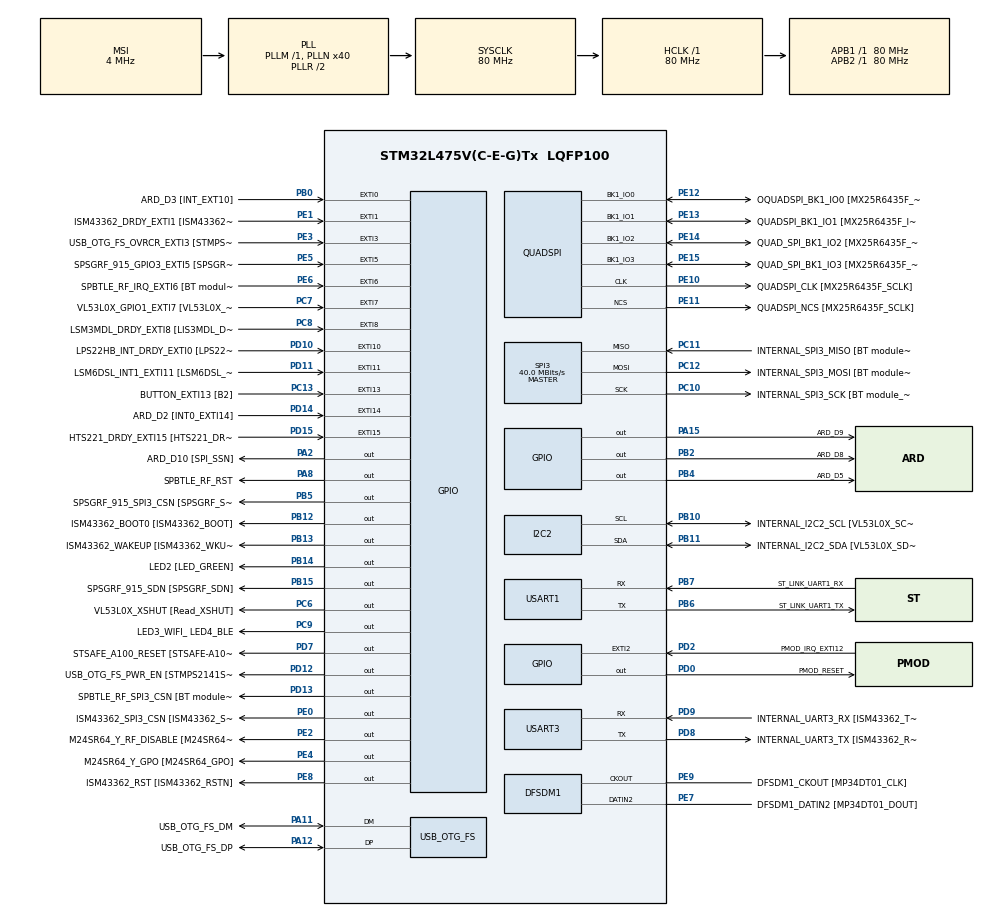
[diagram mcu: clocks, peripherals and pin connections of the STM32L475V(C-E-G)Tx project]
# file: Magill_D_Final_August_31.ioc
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PD12.GPIO_Label=USB_OTG_FS_PWR_EN [STMPS2141STR_EN]
SPI3.Direction=SPI_DIRECTION_2LINES
SPI3.VirtualType=VM_MASTER
QUADSPI.ClockPrescaler=2
PB10.Mode=I2C
PC12.Signal=SPI3_MOSI
PB14.GPIO_Label=LED2 [LED_GREEN]
PC6.GPIO_Label=VL53L0X_XSHUT [Read_XSHUT]
VP_RTC_VS_RTC_Activate.Mode=RTC_Enabled
PA6.GPIO_Label=ARD_D12 [SPI1_MISO]
PB6.GPIO_Label=ST_LINK_UART1_TX
PA15\ (JTDI).Signal=GPIO_Output
PC15-OSC32_OUT\ (PC15).Mode=LSE-External-Oscillator
PB13.Signal=GPIO_Output
PD6.GPIO_Label=PMOD_UART2_RX
PE6.GPIO_Label=SPBTLE_RF_IRQ_EXTI6 [BT module_SPI_IRQ]
RCC.SYSCLKSource=RCC_SYSCLKSOURCE_PLLCLK
PC14-OSC32_IN\ (PC14).Mode=LSE-External-Oscillator
SH.ADCx_IN16.0=ADC1_IN16
USART3.VirtualMode-Asynchronous=VM_ASYNC
PA14\ (JTCK-SWCLK).Signal=SYS_JTCK-SWCLK
PD4.Signal=USART2_RTS
RCC.APB2TimFreq_Value=80000000
PB6.Signal=USART1_TX
PC7.Signal=GPXTI7
PB6.Mode=Asynchronous
PC3.Signal=ADCx_IN4
PD0.Signal=GPIO_Output
PD8.Signal=USART3_TX
PE5.Signal=GPXTI5
PE1.Signal=GPXTI1
QUADSPI.FlashSize=23
NVIC.EXTI15_10_IRQn=true\:0\:0\:false\:false\:true\:true\:true
PB2.Signal=GPIO_Output
PD1.GPIO_Label=PMOD_SPI2_SCK
PB12.GPIO_Label=ISM43362_BOOT0 [ISM43362_BOOT]
PC4.GPIO_Label=ARD_A1 [ADC]
PE9.Signal=S_CKOUTDFSDM1
PB1.GPIO_Label=ARD_D6 [ADC1_IN6]
PE4.GPIO_Label=M24SR64_Y_GPO [M24SR64_GPO]
PE2.Signal=GPIO_Output
PA8.Signal=GPIO_Output
PE13.Mode=Single Bank
PE10.Signal=QUADSPI_CLK
PA0.Signal=UART4_TX
Mcu.Package=LQFP100
PB9.Signal=I2C1_SDA
PB1.Signal=ADCx_IN16
SPI3.Mode=SPI_MODE_MASTER
SH.ADCx_IN14.0=ADC1_IN14
PD12.Signal=GPIO_Output
PA10.Signal=USB_OTG_FS_ID
VP_RTC_VS_RTC_Calendar.Mode=RTC_Calendar
PE12.GPIO_Label=OQUADSPI_BK1_IO0 [MX25R6435F_IO0]
PC11.Mode=Full_Duplex_Master
SH.ADCx_IN9.0=ADC1_IN9
RCC.APB1TimFreq_Value=80000000
PA13\ (JTMS-SWDIO).Signal=SYS_JTMS-SWDIO
NVIC.USART1_IRQn=true\:0\:0\:false\:false\:true\:true\:true
PE10.GPIO_Label=QUADSPI_CLK [MX25R6435F_SCLK]
PA4.GPIO_Label=ARD_D7
PD15.Signal=GPXTI15
PE12.Mode=Single Bank
PD9.GPIO_Label=INTERNAL_UART3_RX [ISM43362_TX]
PA9.GPIO_Label=USB_OTG_FS_VBUS [STMPS2141STR_OUT]
PC13.Signal=GPXTI13
PD3.Signal=USART2_CTS
PC6.Signal=GPIO_Output
PE10.Mode=Single Bank
PC2.Signal=ADCx_IN3
PB11.GPIO_Label=INTERNAL_I2C2_SDA [VL53L0X_SDA]
PD7.Signal=GPIO_Output
PD1.Signal=SPI2_SCK
PA11.GPIO_Label=USB_OTG_FS_DM
PC0.Signal=ADCx_IN1
PD10.Signal=GPXTI10
PB8.GPIO_Label=ARD_D15 [I2C1_SCL]
PA8.GPIO_Label=SPBTLE_RF_RST
PB11.Mode=I2C
PE8.GPIO_Label=ISM43362_RST [ISM43362_RSTN]
PA9.Signal=USB_OTG_FS_VBUS
PE9.GPIO_Label=DFSDM1_CKOUT [MP34DT01_CLK]
PD8.Mode=Asynchronous
PB10.Signal=I2C2_SCL
PB14.Signal=GPIO_Output
PA5.Signal=SPI1_SCK
PC12.Mode=Full_Duplex_Master
PE1.GPIO_Label=ISM43362_DRDY_EXTI1 [ISM43362_DATARDY]
NVIC.TIM3_IRQn=true\:0\:0\:false\:false\:true\:true\:true
PE14.Signal=QUADSPI_BK1_IO2
PE15.Signal=QUADSPI_BK1_IO3
PB15.GPIO_Label=SPSGRF_915_SDN [SPSGRF_SDN]
PE8.Signal=GPIO_Output
PA1.GPIO_Label=ARD_D0 [UART4_RX]
SH.ADCx_IN4.0=ADC1_IN4
QUADSPI.FifoThreshold=4
PC7.GPIO_Label=VL53L0X_GPIO1_EXTI7 [VL53L0X_GPIO1]
PA13\ (JTMS-SWDIO).Mode=Serial_Wire
PA4.Signal=ADCx_IN9
PB5.Signal=GPIO_Output
PE13.GPIO_Label=QUADSPI_BK1_IO1 [MX25R6435F_IO1]
PA5.GPIO_Label=ARD_D13 [SPI1_SCK]
PD11.Signal=GPXTI11
PE5.GPIO_Label=SPSGRF_915_GPIO3_EXTI5 [SPSGRF_GPIO_3]
PC12.GPIO_Label=INTERNAL_SPI3_MOSI [BT module_SPI_MOSI] [ISM43362_MOSI]
PA11.Signal=USB_OTG_FS_DM
ProjectManager.HeapSize=0x200
NVIC.PriorityGroup=NVIC_PRIORITYGROUP_4
PE3.Signal=GPXTI3
PC3.GPIO_Label=ARD_A2 [ADC]
PB4\ (NJTRST).GPIO_Label=ARD_D5
PD2.Signal=GPXTI2
PB0.Signal=GPXTI0
PC1.Signal=ADCx_IN2
PD2.GPIO_Label=PMOD_IRQ_EXTI12
PE15.Mode=Single Bank
Mcu.Family=STM32L4
RCC.CortexFreq_Value=80000000
PE11.GPIO_Label=QUADSPI_NCS [MX25R6435F_SCLK]
SH.ADCx_IN2.0=ADC1_IN2
PC10.Signal=SPI3_SCK
VP_IWDG_VS_IWDG.Mode=IWDG_Activate
PA0.GPIO_Label=ARD_D1 [UART4_TX]
PC0.GPIO_Label=ARD_A5 [ADC]
PD0.GPIO_Label=PMOD_RESET
PA11.Mode=Device_Only
PB0.GPIO_Label=ARD_D3 [INT_EXT10]
PC13.GPIO_Label=BUTTON_EXTI13 [B2]
PB13.GPIO_Label=ISM43362_WAKEUP [ISM43362_WKUP]
PB11.Signal=I2C2_SDA
PB15.Signal=GPIO_Output
PD9.Mode=Asynchronous
VP_RTC_VS_RTC_Alarm_A_Intern.Mode=Alarm A
ProjectManager.StackSize=0x400
PB3\ (JTDO-TRACESWO).Signal=SYS_JTDO-SWO
PD13.Signal=GPIO_Output
PA12.Signal=USB_OTG_FS_DP
PE11.Mode=Single Bank
PD11.GPIO_Label=LSM6DSL_INT1_EXTI11 [LSM6DSL_INT1]
RCC.HCLKFreq_Value=80000000
SH.ADCx_IN3.0=ADC1_IN3
PB5.PinState=GPIO_PIN_SET
RCC.AHBFreq_Value=80000000
RCC.HSE_VALUE=8000000
PE13.Signal=QUADSPI_BK1_IO1
TIM3.Prescaler=47
PC11.GPIO_Label=INTERNAL_SPI3_MISO [BT module_SPI_MISO] [ISM43362_MISO]
PA10.GPIO_Label=USB_OTG_FS_ID
PB7.Signal=USART1_RX
PE4.Signal=GPIO_Output
QUADSPI.SampleShifting=QSPI_SAMPLE_SHIFTING_HALFCYCLE
PD7.GPIO_Label=STSAFE_A100_RESET [STSAFE-A100_RESET]
PB7.GPIO_Label=ST_LINK_UART1_RX
PD13.GPIO_Label=SPBTLE_RF_SPI3_CSN [BT module_SPI_CS]
PA6.Signal=SPI1_MISO
PD5.GPIO_Label=PMOD_UART2_TX
PA2.GPIO_Label=ARD_D10 [SPI_SSN]
USB_OTG_FS.VirtualMode=Device_Only
PE0.GPIO_Label=ISM43362_SPI3_CSN [ISM43362_SSN]
SH.ADCx_IN1.0=ADC1_IN1
PB5.GPIO_Label=SPSGRF_915_SPI3_CSN [SPSGRF_SPI_CS]
PC5.Signal=ADCx_IN14
PD3.GPIO_Label=PMOD_UART2_CTS
PE7.Signal=S_DATAIN2DFSDM1
PD6.Signal=USART2_RX
PE2.GPIO_Label=M24SR64_Y_RF_DISABLE [M24SR64_RFDIS]
PC2.GPIO_Label=ARD_A3 [ADC]
VP_TIM3_VS_ClockSourceINT.Mode=Internal
RCC.PLLSAI1N=24
PA3.Signal=S_TIM2_CH4
RCC.MSI_VALUE=4000000
PA14\ (JTCK-SWCLK).Mode=Serial_Wire
SH.ADCx_IN13.0=ADC1_IN13
PD15.GPIO_Label=HTS221_DRDY_EXTI15 [HTS221_DRDY]
PB9.GPIO_Label=ARD_D14 [I2C1_SDA]
PC10.GPIO_Label=INTERNAL_SPI3_SCK [BT module_SPI_SCLK] [ISM43362_SCK]
PC9.GPIO_Label=LED3_WIFI_ LED4_BLE
PC11.Signal=SPI3_MISO
PC8.Signal=GPXTI8
PC4.Signal=ADCx_IN13
PC10.Mode=Full_Duplex_Master
SH.S_DATAIN2DFSDM1.0=DFSDM1_DATIN2,PDM_SPI_Input_from_ch12_and_Internal_Clock
PE14.GPIO_Label=QUAD_SPI_BK1_IO2 [MX25R6435F_IO2]
PC15-OSC32_OUT\ (PC15).Signal=RCC_OSC32_OUT
PD9.Signal=USART3_RX
PD5.Signal=USART2_TX
PA14\ (JTCK-SWCLK).GPIO_Label=SYS_JTCK_SWCLK
PB3\ (JTDO-TRACESWO).GPIO_Label=SYS_JTD0_SWO
PA12.GPIO_Label=USB_OTG_FS_DP
PD8.GPIO_Label=INTERNAL_UART3_TX [ISM43362_RX]
PC8.GPIO_Label=LSM3MDL_DRDY_EXTI8 [LIS3MDL_DRDY]
USART1.VirtualMode-Asynchronous=VM_ASYNC
PE0.PinState=GPIO_PIN_SET
PE15.GPIO_Label=QUAD_SPI_BK1_IO3 [MX25R6435F_IO3]
ProjectManager.TargetToolchain=STM32CubeIDE
PB10.GPIO_Label=INTERNAL_I2C2_SCL [VL53L0X_SCL]
RCC.USBFreq_Value=48000000
PD10.GPIO_Label=LPS22HB_INT_DRDY_EXTI0 [LPS22HB_INT_DRDY] 
PE11.Signal=QUADSPI_NCS
PA1.Signal=UART4_RX
board=B-L475E-IOT01A1
RCC.VCOOutputFreq_Value=160000000
RCC.APB2Freq_Value=80000000
SPI3.CalculateBaudRate=40.0 MBits/s
PA13\ (JTMS-SWDIO).GPIO_Label=SYS_JTMS_SWDIO
VP_TIM2_VS_ClockSourceINT.Mode=Internal
PD4.GPIO_Label=PMOD_UART2_RTS
PE14.Mode=Single Bank
SH.S_CKOUTDFSDM1.0=DFSDM1_CKOUT,CKOUT
SH.S_CKOUTDFSDM1.1=DFSDM1_CKOUT,PDM_SPI_Input_from_ch12_and_Internal_Clock
RCC.ADCFreq_Value=48000000
PC1.GPIO_Label=ARD_A4 [ADC]
PD14.GPIO_Label=ARD_D2 [INT0_EXTI14]
PE6.Signal=GPXTI6
PA15\ (JTDI).GPIO_Label=ARD_D9
Mcu.Name=STM32L475V(C-E-G)Tx
PE0.Signal=GPIO_Output
RTC.Alarm-Alarm\ A=RTC_ALARM_A
PE7.GPIO_Label=DFSDM1_DATIN2 [MP34DT01_DOUT]
PE12.Signal=QUADSPI_BK1_IO0
PA2.Signal=GPIO_Output
PD14.Signal=GPXTI14
RCC.SYSCLKFreq_VALUE=80000000
PA7.GPIO_Label=ARD_D11 [SPI1_MOSI]
PA12.Mode=Device_Only
PC13.GPIO_ModeDefaultEXTI=GPIO_MODE_IT_FALLING
PC5.GPIO_Label=ARD_A0 [ADC]
PC14-OSC32_IN\ (PC14).Signal=RCC_OSC32_IN
PB7.Mode=Asynchronous
NVIC.EXTI9_5_IRQn=true\:0\:0\:false\:false\:true\:true\:true
PB2.GPIO_Label=ARD_D8
SH.S_TIM2_CH4.0=TIM2_CH4
RCC.HSI_VALUE=16000000
RCC.PLLN=40
PB8.Signal=I2C1_SCL
PE3.GPIO_Label=USB_OTG_FS_OVRCR_EXTI3 [STMPS2141STR_FAULT]
PC9.Signal=GPIO_Output
PD13.PinState=GPIO_PIN_SET
RCC.APB1Freq_Value=80000000
PB12.Signal=GPIO_Output
PA3.GPIO_Label=ARD_D4
PA7.Signal=SPI1_MOSI
PB4\ (NJTRST).Signal=GPIO_Output

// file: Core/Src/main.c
/* USER CODE BEGIN Header */
/**
 ******************************************************************************
 * @file           : main.c
 * @brief          : Main program body
 ******************************************************************************
 * @attention
 *t
 * <h2><center>&copy; Copyright (c) 2021 STMicroelectronics.
 * All rights reserved.</center></h2>
 *
 * This software component is licensed by ST under BSD 3-Clause license,
 * the "License"; You may not use this file except in compliance with the
 * License. You may obtain a copy of the License at:
 *                        opensource.org/licenses/BSD-3-Clause
 *
 ******************************************************************************
 */
/* USER CODE END Header */
#include "main.h"

/* USER CODE BEGIN Includes */
#include "string.h"
#include <stdio.h>
/* USER CODE END Includes */

DFSDM_Channel_HandleTypeDef hdfsdm1_channel1;

I2C_HandleTypeDef hi2c2;

IWDG_HandleTypeDef hiwdg;

QSPI_HandleTypeDef hqspi;

RTC_HandleTypeDef hrtc;

SPI_HandleTypeDef hspi3;

TIM_HandleTypeDef htim2;
TIM_HandleTypeDef htim3;

UART_HandleTypeDef huart1;
UART_HandleTypeDef huart3;

PCD_HandleTypeDef hpcd_USB_OTG_FS;

void SystemClock_Config(void);
static void MX_GPIO_Init(void);
static void MX_DFSDM1_Init(void);
static void MX_I2C2_Init(void);
static void MX_QUADSPI_Init(void);
static void MX_SPI3_Init(void);
static void MX_USART1_UART_Init(void);
static void MX_USART3_UART_Init(void);
static void MX_USB_OTG_FS_PCD_Init(void);
static void MX_IWDG_Init(void);
static void MX_RTC_Init(void);
static void MX_TIM2_Init(void);
static void MX_TIM3_Init(void);
/* USER CODE BEGIN PFP */

static void printMenu();
static char logGetMsg(UART_HandleTypeDef *huart);
static void noOp();
static void waitTx();
static void myDelay1(uint32_t ms);
static void myDelay2(uint32_t ms);
static void startTimer3();
static void triggerSoftwareInterrupt();
static void triggerIWDG();

/* USER CODE END PFP */

/* USER CODE BEGIN 0 */

uint8_t rx_buffer[1] = {0};
uint8_t tx_complete = 0;
uint8_t rx_wait_sum = 0;
uint8_t rx_wait_ones = 0;
uint32_t timerCounter = 1;

/* USER CODE END 0 */

int main(void)
{

  /* MCU Configuration--------------------------------------------------------*/

  /* Reset of all peripherals, Initializes the Flash interface and the Systick. */
  HAL_Init();

  /* Configure the system clock */
  SystemClock_Config();

  /* Initialize all configured peripherals */
  MX_GPIO_Init();
  MX_DFSDM1_Init();
  MX_I2C2_Init();
  MX_QUADSPI_Init();
  MX_SPI3_Init();
  MX_USART1_UART_Init();
  MX_USART3_UART_Init();
  MX_USB_OTG_FS_PCD_Init();
  MX_IWDG_Init();
  MX_RTC_Init();
  MX_TIM2_Init();
  MX_TIM3_Init();
  /* USER CODE BEGIN 2 */
  printMenu();
  /* USER CODE END 2 */

  /* Infinite loop */
  /* USER CODE BEGIN WHILE */
	while (1)
	{
		HAL_IWDG_Refresh(&hiwdg);
		if (logGetMsg(&huart1) != '\0') {

			switch (rx_buffer[0]) {

				case 'g':

					logMsg(&huart1, "Received g \r\n");
					HAL_GPIO_TogglePin(GPIOB, GPIO_PIN_14);
					myDelay1(50);
					rx_buffer[0] = '\0';
					break;

				case 'b':

					logMsg(&huart1, "Received b \r\n");
					HAL_GPIO_TogglePin(GPIOC, GPIO_PIN_9);
					myDelay2(50);
					rx_buffer[0] = '\0';
					break;

				case 's':
					logMsg(&huart1, "Received s \r\n");
					triggerSoftwareInterrupt();
					rx_buffer[0] = '\0';
					break;

				case 't':

					logMsg(&huart1, "Received t \r\n");
					startTimer3();
					rx_buffer[0] = '\0';
					break;

				case 'w':

					logMsg(&huart1, "Received w \r\n");
					triggerIWDG();
					rx_buffer[0] = '\0';
					break;

				default:
					// enableIntr(40);
					logMsg(&huart1, "Received unknown character... \r\n");
					rx_buffer[0] = '\0';
					break;

			}
		}
    /* USER CODE END WHILE */

	}
}

void SystemClock_Config(void)
{
  RCC_OscInitTypeDef RCC_OscInitStruct = {0};
  RCC_ClkInitTypeDef RCC_ClkInitStruct = {0};
  RCC_PeriphCLKInitTypeDef PeriphClkInit = {0};

  /** Configure LSE Drive Capability
  */
  HAL_PWR_EnableBkUpAccess();
  __HAL_RCC_LSEDRIVE_CONFIG(RCC_LSEDRIVE_LOW);
  /** Initializes the RCC Oscillators according to the specified parameters
  * in the RCC_OscInitTypeDef structure.
  */
  RCC_OscInitStruct.OscillatorType = RCC_OSCILLATORTYPE_LSI|RCC_OSCILLATORTYPE_LSE
                              |RCC_OSCILLATORTYPE_MSI;
  RCC_OscInitStruct.LSEState = RCC_LSE_ON;
  RCC_OscInitStruct.LSIState = RCC_LSI_ON;
  RCC_OscInitStruct.MSIState = RCC_MSI_ON;
  RCC_OscInitStruct.MSICalibrationValue = 0;
  RCC_OscInitStruct.MSIClockRange = RCC_MSIRANGE_6;
  RCC_OscInitStruct.PLL.PLLState = RCC_PLL_ON;
  RCC_OscInitStruct.PLL.PLLSource = RCC_PLLSOURCE_MSI;
  RCC_OscInitStruct.PLL.PLLM = 1;
  RCC_OscInitStruct.PLL.PLLN = 40;
  RCC_OscInitStruct.PLL.PLLP = RCC_PLLP_DIV7;
  RCC_OscInitStruct.PLL.PLLQ = RCC_PLLQ_DIV2;
  RCC_OscInitStruct.PLL.PLLR = RCC_PLLR_DIV2;
  if (HAL_RCC_OscConfig(&RCC_OscInitStruct) != HAL_OK)
  {
    Error_Handler();
  }
  /** Initializes the CPU, AHB and APB buses clocks
  */
  RCC_ClkInitStruct.ClockType = RCC_CLOCKTYPE_HCLK|RCC_CLOCKTYPE_SYSCLK
                              |RCC_CLOCKTYPE_PCLK1|RCC_CLOCKTYPE_PCLK2;
  RCC_ClkInitStruct.SYSCLKSource = RCC_SYSCLKSOURCE_PLLCLK;
  RCC_ClkInitStruct.AHBCLKDivider = RCC_SYSCLK_DIV1;
  RCC_ClkInitStruct.APB1CLKDivider = RCC_HCLK_DIV1;
  RCC_ClkInitStruct.APB2CLKDivider = RCC_HCLK_DIV1;

  if (HAL_RCC_ClockConfig(&RCC_ClkInitStruct, FLASH_LATENCY_4) != HAL_OK)
  {
    Error_Handler();
  }
  PeriphClkInit.PeriphClockSelection = RCC_PERIPHCLK_RTC|RCC_PERIPHCLK_USART1
                              |RCC_PERIPHCLK_USART3|RCC_PERIPHCLK_I2C2
                              |RCC_PERIPHCLK_DFSDM1|RCC_PERIPHCLK_USB;
  PeriphClkInit.Usart1ClockSelection = RCC_USART1CLKSOURCE_PCLK2;
  PeriphClkInit.Usart3ClockSelection = RCC_USART3CLKSOURCE_PCLK1;
  PeriphClkInit.I2c2ClockSelection = RCC_I2C2CLKSOURCE_PCLK1;
  PeriphClkInit.Dfsdm1ClockSelection = RCC_DFSDM1CLKSOURCE_PCLK;
  PeriphClkInit.RTCClockSelection = RCC_RTCCLKSOURCE_LSI;
  PeriphClkInit.UsbClockSelection = RCC_USBCLKSOURCE_PLLSAI1;
  PeriphClkInit.PLLSAI1.PLLSAI1Source = RCC_PLLSOURCE_MSI;
  PeriphClkInit.PLLSAI1.PLLSAI1M = 1;
  PeriphClkInit.PLLSAI1.PLLSAI1N = 24;
  PeriphClkInit.PLLSAI1.PLLSAI1P = RCC_PLLP_DIV7;
  PeriphClkInit.PLLSAI1.PLLSAI1Q = RCC_PLLQ_DIV2;
  PeriphClkInit.PLLSAI1.PLLSAI1R = RCC_PLLR_DIV2;
  PeriphClkInit.PLLSAI1.PLLSAI1ClockOut = RCC_PLLSAI1_48M2CLK;
  if (HAL_RCCEx_PeriphCLKConfig(&PeriphClkInit) != HAL_OK)
  {
    Error_Handler();
  }
  /** Configure the main internal regulator output voltage
  */
  if (HAL_PWREx_ControlVoltageScaling(PWR_REGULATOR_VOLTAGE_SCALE1) != HAL_OK)
  {
    Error_Handler();
  }
  /** Enable MSI Auto calibration
  */
  HAL_RCCEx_EnableMSIPLLMode();
}

static void MX_DFSDM1_Init(void)
{

  hdfsdm1_channel1.Instance = DFSDM1_Channel1;
  hdfsdm1_channel1.Init.OutputClock.Activation = ENABLE;
  hdfsdm1_channel1.Init.OutputClock.Selection = DFSDM_CHANNEL_OUTPUT_CLOCK_SYSTEM;
  hdfsdm1_channel1.Init.OutputClock.Divider = 2;
  hdfsdm1_channel1.Init.Input.Multiplexer = DFSDM_CHANNEL_EXTERNAL_INPUTS;
  hdfsdm1_channel1.Init.Input.DataPacking = DFSDM_CHANNEL_STANDARD_MODE;
  hdfsdm1_channel1.Init.Input.Pins = DFSDM_CHANNEL_FOLLOWING_CHANNEL_PINS;
  hdfsdm1_channel1.Init.SerialInterface.Type = DFSDM_CHANNEL_SPI_RISING;
  hdfsdm1_channel1.Init.SerialInterface.SpiClock = DFSDM_CHANNEL_SPI_CLOCK_INTERNAL;
  hdfsdm1_channel1.Init.Awd.FilterOrder = DFSDM_CHANNEL_FASTSINC_ORDER;
  hdfsdm1_channel1.Init.Awd.Oversampling = 1;
  hdfsdm1_channel1.Init.Offset = 0;
  hdfsdm1_channel1.Init.RightBitShift = 0x00;
  if (HAL_DFSDM_ChannelInit(&hdfsdm1_channel1) != HAL_OK)
  {
    Error_Handler();
  }

}

static void MX_I2C2_Init(void)
{

  hi2c2.Instance = I2C2;
  hi2c2.Init.Timing = 0x00000E14;
  hi2c2.Init.OwnAddress1 = 0;
  hi2c2.Init.AddressingMode = I2C_ADDRESSINGMODE_7BIT;
  hi2c2.Init.DualAddressMode = I2C_DUALADDRESS_DISABLE;
  hi2c2.Init.OwnAddress2 = 0;
  hi2c2.Init.OwnAddress2Masks = I2C_OA2_NOMASK;
  hi2c2.Init.GeneralCallMode = I2C_GENERALCALL_DISABLE;
  hi2c2.Init.NoStretchMode = I2C_NOSTRETCH_DISABLE;
  if (HAL_I2C_Init(&hi2c2) != HAL_OK)
  {
    Error_Handler();
  }
  /** Configure Analogue filter
  */
  if (HAL_I2CEx_ConfigAnalogFilter(&hi2c2, I2C_ANALOGFILTER_ENABLE) != HAL_OK)
  {
    Error_Handler();
  }
  /** Configure Digital filter
  */
  if (HAL_I2CEx_ConfigDigitalFilter(&hi2c2, 0) != HAL_OK)
  {
    Error_Handler();
  }

}

static void MX_IWDG_Init(void)
{

  hiwdg.Instance = IWDG;
  hiwdg.Init.Prescaler = IWDG_PRESCALER_4;
  hiwdg.Init.Window = 4095;
  hiwdg.Init.Reload = 4095;
  if (HAL_IWDG_Init(&hiwdg) != HAL_OK)
  {
    Error_Handler();
  }

}

static void MX_QUADSPI_Init(void)
{

  /* QUADSPI parameter configuration*/
  hqspi.Instance = QUADSPI;
  hqspi.Init.ClockPrescaler = 2;
  hqspi.Init.FifoThreshold = 4;
  hqspi.Init.SampleShifting = QSPI_SAMPLE_SHIFTING_HALFCYCLE;
  hqspi.Init.FlashSize = 23;
  hqspi.Init.ChipSelectHighTime = QSPI_CS_HIGH_TIME_1_CYCLE;
  hqspi.Init.ClockMode = QSPI_CLOCK_MODE_0;
  if (HAL_QSPI_Init(&hqspi) != HAL_OK)
  {
    Error_Handler();
  }

}

static void MX_RTC_Init(void)
{

  RTC_TimeTypeDef sTime = {0};
  RTC_DateTypeDef sDate = {0};
  RTC_AlarmTypeDef sAlarm = {0};

  /** Initialize RTC Only
  */
  hrtc.Instance = RTC;
  hrtc.Init.HourFormat = RTC_HOURFORMAT_24;
  hrtc.Init.AsynchPrediv = 127;
  hrtc.Init.SynchPrediv = 255;
  hrtc.Init.OutPut = RTC_OUTPUT_DISABLE;
  hrtc.Init.OutPutRemap = RTC_OUTPUT_REMAP_NONE;
  hrtc.Init.OutPutPolarity = RTC_OUTPUT_POLARITY_HIGH;
  hrtc.Init.OutPutType = RTC_OUTPUT_TYPE_OPENDRAIN;
  if (HAL_RTC_Init(&hrtc) != HAL_OK)
  {
    Error_Handler();
  }

  /** Initialize RTC and set the Time and Date
  */
  sTime.Hours = 0x0;
  sTime.Minutes = 0x0;
  sTime.Seconds = 0x0;
  sTime.DayLightSaving = RTC_DAYLIGHTSAVING_NONE;
  sTime.StoreOperation = RTC_STOREOPERATION_RESET;
  if (HAL_RTC_SetTime(&hrtc, &sTime, RTC_FORMAT_BCD) != HAL_OK)
  {
    Error_Handler();
  }
  sDate.WeekDay = RTC_WEEKDAY_MONDAY;
  sDate.Month = RTC_MONTH_JANUARY;
  sDate.Date = 0x1;
  sDate.Year = 0x0;

  if (HAL_RTC_SetDate(&hrtc, &sDate, RTC_FORMAT_BCD) != HAL_OK)
  {
    Error_Handler();
  }
  /** Enable the Alarm A
  */
  sAlarm.AlarmTime.Hours = 0x0;
  sAlarm.AlarmTime.Minutes = 0x0;
  sAlarm.AlarmTime.Seconds = 0x0;
  sAlarm.AlarmTime.SubSeconds = 0x0;
  sAlarm.AlarmTime.DayLightSaving = RTC_DAYLIGHTSAVING_NONE;
  sAlarm.AlarmTime.StoreOperation = RTC_STOREOPERATION_RESET;
  sAlarm.AlarmMask = RTC_ALARMMASK_NONE;
  sAlarm.AlarmSubSecondMask = RTC_ALARMSUBSECONDMASK_ALL;
  sAlarm.AlarmDateWeekDaySel = RTC_ALARMDATEWEEKDAYSEL_DATE;
  sAlarm.AlarmDateWeekDay = 0x1;
  sAlarm.Alarm = RTC_ALARM_A;
  if (HAL_RTC_SetAlarm(&hrtc, &sAlarm, RTC_FORMAT_BCD) != HAL_OK)
  {
    Error_Handler();
  }

}

static void MX_SPI3_Init(void)
{

  /* SPI3 parameter configuration*/
  hspi3.Instance = SPI3;
  hspi3.Init.Mode = SPI_MODE_MASTER;
  hspi3.Init.Direction = SPI_DIRECTION_2LINES;
  hspi3.Init.DataSize = SPI_DATASIZE_4BIT;
  hspi3.Init.CLKPolarity = SPI_POLARITY_LOW;
  hspi3.Init.CLKPhase = SPI_PHASE_1EDGE;
  hspi3.Init.NSS = SPI_NSS_SOFT;
  hspi3.Init.BaudRatePrescaler = SPI_BAUDRATEPRESCALER_2;
  hspi3.Init.FirstBit = SPI_FIRSTBIT_MSB;
  hspi3.Init.TIMode = SPI_TIMODE_DISABLE;
  hspi3.Init.CRCCalculation = SPI_CRCCALCULATION_DISABLE;
  hspi3.Init.CRCPolynomial = 7;
  hspi3.Init.CRCLength = SPI_CRC_LENGTH_DATASIZE;
  hspi3.Init.NSSPMode = SPI_NSS_PULSE_ENABLE;
  if (HAL_SPI_Init(&hspi3) != HAL_OK)
  {
    Error_Handler();
  }

}

static void MX_TIM2_Init(void)
{

  TIM_ClockConfigTypeDef sClockSourceConfig = {0};
  TIM_MasterConfigTypeDef sMasterConfig = {0};

  htim2.Instance = TIM2;
  htim2.Init.Prescaler = 0;
  htim2.Init.CounterMode = TIM_COUNTERMODE_UP;
  htim2.Init.Period = 4294967295;
  htim2.Init.ClockDivision = TIM_CLOCKDIVISION_DIV1;
  htim2.Init.AutoReloadPreload = TIM_AUTORELOAD_PRELOAD_DISABLE;
  if (HAL_TIM_Base_Init(&htim2) != HAL_OK)
  {
    Error_Handler();
  }
  sClockSourceConfig.ClockSource = TIM_CLOCKSOURCE_INTERNAL;
  if (HAL_TIM_ConfigClockSource(&htim2, &sClockSourceConfig) != HAL_OK)
  {
    Error_Handler();
  }
  sMasterConfig.MasterOutputTrigger = TIM_TRGO_RESET;
  sMasterConfig.MasterSlaveMode = TIM_MASTERSLAVEMODE_DISABLE;
  if (HAL_TIMEx_MasterConfigSynchronization(&htim2, &sMasterConfig) != HAL_OK)
  {
    Error_Handler();
  }

}

static void MX_TIM3_Init(void)
{

  TIM_ClockConfigTypeDef sClockSourceConfig = {0};
  TIM_MasterConfigTypeDef sMasterConfig = {0};

  htim3.Instance = TIM3;
  htim3.Init.Prescaler = 47;
  htim3.Init.CounterMode = TIM_COUNTERMODE_UP;
  htim3.Init.Period = 65535;
  htim3.Init.ClockDivision = TIM_CLOCKDIVISION_DIV1;
  htim3.Init.AutoReloadPreload = TIM_AUTORELOAD_PRELOAD_DISABLE;
  if (HAL_TIM_Base_Init(&htim3) != HAL_OK)
  {
    Error_Handler();
  }
  sClockSourceConfig.ClockSource = TIM_CLOCKSOURCE_INTERNAL;
  if (HAL_TIM_ConfigClockSource(&htim3, &sClockSourceConfig) != HAL_OK)
  {
    Error_Handler();
  }
  sMasterConfig.MasterOutputTrigger = TIM_TRGO_RESET;
  sMasterConfig.MasterSlaveMode = TIM_MASTERSLAVEMODE_DISABLE;
  if (HAL_TIMEx_MasterConfigSynchronization(&htim3, &sMasterConfig) != HAL_OK)
  {
    Error_Handler();
  }

}

static void MX_USART1_UART_Init(void)
{

  huart1.Instance = USART1;
  huart1.Init.BaudRate = 115200;
  huart1.Init.WordLength = UART_WORDLENGTH_8B;
  huart1.Init.StopBits = UART_STOPBITS_1;
  huart1.Init.Parity = UART_PARITY_NONE;
  huart1.Init.Mode = UART_MODE_TX_RX;
  huart1.Init.HwFlowCtl = UART_HWCONTROL_NONE;
  huart1.Init.OverSampling = UART_OVERSAMPLING_16;
  huart1.Init.OneBitSampling = UART_ONE_BIT_SAMPLE_DISABLE;
  huart1.AdvancedInit.AdvFeatureInit = UART_ADVFEATURE_NO_INIT;
  if (HAL_UART_Init(&huart1) != HAL_OK)
  {
    Error_Handler();
  }

}

static void MX_USART3_UART_Init(void)
{

  huart3.Instance = USART3;
  huart3.Init.BaudRate = 115200;
  huart3.Init.WordLength = UART_WORDLENGTH_8B;
  huart3.Init.StopBits = UART_STOPBITS_1;
  huart3.Init.Parity = UART_PARITY_NONE;
  huart3.Init.Mode = UART_MODE_TX_RX;
  huart3.Init.HwFlowCtl = UART_HWCONTROL_NONE;
  huart3.Init.OverSampling = UART_OVERSAMPLING_16;
  huart3.Init.OneBitSampling = UART_ONE_BIT_SAMPLE_DISABLE;
  huart3.AdvancedInit.AdvFeatureInit = UART_ADVFEATURE_NO_INIT;
  if (HAL_UART_Init(&huart3) != HAL_OK)
  {
    Error_Handler();
  }

}

static void MX_USB_OTG_FS_PCD_Init(void)
{

  hpcd_USB_OTG_FS.Instance = USB_OTG_FS;
  hpcd_USB_OTG_FS.Init.dev_endpoints = 6;
  hpcd_USB_OTG_FS.Init.speed = PCD_SPEED_FULL;
  hpcd_USB_OTG_FS.Init.phy_itface = PCD_PHY_EMBEDDED;
  hpcd_USB_OTG_FS.Init.Sof_enable = DISABLE;
  hpcd_USB_OTG_FS.Init.low_power_enable = DISABLE;
  hpcd_USB_OTG_FS.Init.lpm_enable = DISABLE;
  hpcd_USB_OTG_FS.Init.battery_charging_enable = DISABLE;
  hpcd_USB_OTG_FS.Init.use_dedicated_ep1 = DISABLE;
  hpcd_USB_OTG_FS.Init.vbus_sensing_enable = DISABLE;
  if (HAL_PCD_Init(&hpcd_USB_OTG_FS) != HAL_OK)
  {
    Error_Handler();
  }

}

static void MX_GPIO_Init(void)
{
  GPIO_InitTypeDef GPIO_InitStruct = {0};

  /* GPIO Ports Clock Enable */
  __HAL_RCC_GPIOE_CLK_ENABLE();
  __HAL_RCC_GPIOC_CLK_ENABLE();
  __HAL_RCC_GPIOA_CLK_ENABLE();
  __HAL_RCC_GPIOB_CLK_ENABLE();
  __HAL_RCC_GPIOD_CLK_ENABLE();

  /*Configure GPIO pin Output Level */
  HAL_GPIO_WritePin(GPIOE, M24SR64_Y_RF_DISABLE_Pin|M24SR64_Y_GPO_Pin|ISM43362_RST_Pin, GPIO_PIN_RESET);

  /*Configure GPIO pin Output Level */
  HAL_GPIO_WritePin(GPIOA, ARD_D10_Pin|SPBTLE_RF_RST_Pin|ARD_D9_Pin, GPIO_PIN_RESET);

  /*Configure GPIO pin Output Level */
  HAL_GPIO_WritePin(GPIOB, ARD_D8_Pin|ISM43362_BOOT0_Pin|ISM43362_WAKEUP_Pin|LED2_Pin
                          |SPSGRF_915_SDN_Pin|ARD_D5_Pin, GPIO_PIN_RESET);

  /*Configure GPIO pin Output Level */
  HAL_GPIO_WritePin(GPIOD, USB_OTG_FS_PWR_EN_Pin|PMOD_RESET_Pin|STSAFE_A100_RESET_Pin, GPIO_PIN_RESET);

  /*Configure GPIO pin Output Level */
  HAL_GPIO_WritePin(SPBTLE_RF_SPI3_CSN_GPIO_Port, SPBTLE_RF_SPI3_CSN_Pin, GPIO_PIN_SET);

  /*Configure GPIO pin Output Level */
  HAL_GPIO_WritePin(GPIOC, VL53L0X_XSHUT_Pin|LED3_WIFI__LED4_BLE_Pin, GPIO_PIN_RESET);

  /*Configure GPIO pin Output Level */
  HAL_GPIO_WritePin(SPSGRF_915_SPI3_CSN_GPIO_Port, SPSGRF_915_SPI3_CSN_Pin, GPIO_PIN_SET);

  /*Configure GPIO pin Output Level */
  HAL_GPIO_WritePin(ISM43362_SPI3_CSN_GPIO_Port, ISM43362_SPI3_CSN_Pin, GPIO_PIN_SET);

  /*Configure GPIO pins : M24SR64_Y_RF_DISABLE_Pin M24SR64_Y_GPO_Pin ISM43362_RST_Pin ISM43362_SPI3_CSN_Pin */
  GPIO_InitStruct.Pin = M24SR64_Y_RF_DISABLE_Pin|M24SR64_Y_GPO_Pin|ISM43362_RST_Pin|ISM43362_SPI3_CSN_Pin;
  GPIO_InitStruct.Mode = GPIO_MODE_OUTPUT_PP;
  GPIO_InitStruct.Pull = GPIO_NOPULL;
  GPIO_InitStruct.Speed = GPIO_SPEED_FREQ_LOW;
  HAL_GPIO_Init(GPIOE, &GPIO_InitStruct);

  /*Configure GPIO pins : USB_OTG_FS_OVRCR_EXTI3_Pin SPSGRF_915_GPIO3_EXTI5_Pin SPBTLE_RF_IRQ_EXTI6_Pin ISM43362_DRDY_EXTI1_Pin */
  GPIO_InitStruct.Pin = USB_OTG_FS_OVRCR_EXTI3_Pin|SPSGRF_915_GPIO3_EXTI5_Pin|SPBTLE_RF_IRQ_EXTI6_Pin|ISM43362_DRDY_EXTI1_Pin;
  GPIO_InitStruct.Mode = GPIO_MODE_IT_RISING;
  GPIO_InitStruct.Pull = GPIO_NOPULL;
  HAL_GPIO_Init(GPIOE, &GPIO_InitStruct);

  /*Configure GPIO pin : BUTTON_EXTI13_Pin */
  GPIO_InitStruct.Pin = BUTTON_EXTI13_Pin;
  GPIO_InitStruct.Mode = GPIO_MODE_IT_FALLING;
  GPIO_InitStruct.Pull = GPIO_NOPULL;
  HAL_GPIO_Init(BUTTON_EXTI13_GPIO_Port, &GPIO_InitStruct);

  /*Configure GPIO pins : ARD_A5_Pin ARD_A4_Pin ARD_A3_Pin ARD_A2_Pin
                           ARD_A1_Pin ARD_A0_Pin */
  GPIO_InitStruct.Pin = ARD_A5_Pin|ARD_A4_Pin|ARD_A3_Pin|ARD_A2_Pin
                          |ARD_A1_Pin|ARD_A0_Pin;
  GPIO_InitStruct.Mode = GPIO_MODE_ANALOG_ADC_CONTROL;
  GPIO_InitStruct.Pull = GPIO_NOPULL;
  HAL_GPIO_Init(GPIOC, &GPIO_InitStruct);

  /*Configure GPIO pins : ARD_D1_Pin ARD_D0_Pin */
  GPIO_InitStruct.Pin = ARD_D1_Pin|ARD_D0_Pin;
  GPIO_InitStruct.Mode = GPIO_MODE_AF_PP;
  GPIO_InitStruct.Pull = GPIO_NOPULL;
  GPIO_InitStruct.Speed = GPIO_SPEED_FREQ_VERY_HIGH;
  GPIO_InitStruct.Alternate = GPIO_AF8_UART4;
  HAL_GPIO_Init(GPIOA, &GPIO_InitStruct);

  /*Configure GPIO pins : ARD_D10_Pin SPBTLE_RF_RST_Pin ARD_D9_Pin */
  GPIO_InitStruct.Pin = ARD_D10_Pin|SPBTLE_RF_RST_Pin|ARD_D9_Pin;
  GPIO_InitStruct.Mode = GPIO_MODE_OUTPUT_PP;
  GPIO_InitStruct.Pull = GPIO_NOPULL;
  GPIO_InitStruct.Speed = GPIO_SPEED_FREQ_LOW;
  HAL_GPIO_Init(GPIOA, &GPIO_InitStruct);

  /*Configure GPIO pin : ARD_D7_Pin */
  GPIO_InitStruct.Pin = ARD_D7_Pin;
  GPIO_InitStruct.Mode = GPIO_MODE_ANALOG_ADC_CONTROL;
  GPIO_InitStruct.Pull = GPIO_NOPULL;
  HAL_GPIO_Init(ARD_D7_GPIO_Port, &GPIO_InitStruct);

  /*Configure GPIO pins : ARD_D13_Pin ARD_D12_Pin ARD_D11_Pin */
  GPIO_InitStruct.Pin = ARD_D13_Pin|ARD_D12_Pin|ARD_D11_Pin;
  GPIO_InitStruct.Mode = GPIO_MODE_AF_PP;
  GPIO_InitStruct.Pull = GPIO_NOPULL;
  GPIO_InitStruct.Speed = GPIO_SPEED_FREQ_VERY_HIGH;
  GPIO_InitStruct.Alternate = GPIO_AF5_SPI1;
  HAL_GPIO_Init(GPIOA, &GPIO_InitStruct);

  /*Configure GPIO pin : ARD_D3_Pin */
  GPIO_InitStruct.Pin = ARD_D3_Pin;
  GPIO_InitStruct.Mode = GPIO_MODE_IT_RISING;
  GPIO_InitStruct.Pull = GPIO_NOPULL;
  HAL_GPIO_Init(ARD_D3_GPIO_Port, &GPIO_InitStruct);

  /*Configure GPIO pin : ARD_D6_Pin */
  GPIO_InitStruct.Pin = ARD_D6_Pin;
  GPIO_InitStruct.Mode = GPIO_MODE_ANALOG_ADC_CONTROL;
  GPIO_InitStruct.Pull = GPIO_NOPULL;
  HAL_GPIO_Init(ARD_D6_GPIO_Port, &GPIO_InitStruct);

  /*Configure GPIO pins : ARD_D8_Pin ISM43362_BOOT0_Pin ISM43362_WAKEUP_Pin LED2_Pin
                           SPSGRF_915_SDN_Pin ARD_D5_Pin SPSGRF_915_SPI3_CSN_Pin */
  GPIO_InitStruct.Pin = ARD_D8_Pin|ISM43362_BOOT0_Pin|ISM43362_WAKEUP_Pin|LED2_Pin
                          |SPSGRF_915_SDN_Pin|ARD_D5_Pin|SPSGRF_915_SPI3_CSN_Pin;
  GPIO_InitStruct.Mode = GPIO_MODE_OUTPUT_PP;
  GPIO_InitStruct.Pull = GPIO_NOPULL;
  GPIO_InitStruct.Speed = GPIO_SPEED_FREQ_LOW;
  HAL_GPIO_Init(GPIOB, &GPIO_InitStruct);

  /*Configure GPIO pins : LPS22HB_INT_DRDY_EXTI0_Pin LSM6DSL_INT1_EXTI11_Pin ARD_D2_Pin HTS221_DRDY_EXTI15_Pin
                           PMOD_IRQ_EXTI12_Pin */
  GPIO_InitStruct.Pin = LPS22HB_INT_DRDY_EXTI0_Pin|LSM6DSL_INT1_EXTI11_Pin|ARD_D2_Pin|HTS221_DRDY_EXTI15_Pin
                          |PMOD_IRQ_EXTI12_Pin;
  GPIO_InitStruct.Mode = GPIO_MODE_IT_RISING;
  GPIO_InitStruct.Pull = GPIO_NOPULL;
  HAL_GPIO_Init(GPIOD, &GPIO_InitStruct);

  /*Configure GPIO pins : USB_OTG_FS_PWR_EN_Pin SPBTLE_RF_SPI3_CSN_Pin PMOD_RESET_Pin STSAFE_A100_RESET_Pin */
  GPIO_InitStruct.Pin = USB_OTG_FS_PWR_EN_Pin|SPBTLE_RF_SPI3_CSN_Pin|PMOD_RESET_Pin|STSAFE_A100_RESET_Pin;
  GPIO_InitStruct.Mode = GPIO_MODE_OUTPUT_PP;
  GPIO_InitStruct.Pull = GPIO_NOPULL;
  GPIO_InitStruct.Speed = GPIO_SPEED_FREQ_LOW;
  HAL_GPIO_Init(GPIOD, &GPIO_InitStruct);

  /*Configure GPIO pins : VL53L0X_XSHUT_Pin LED3_WIFI__LED4_BLE_Pin */
  GPIO_InitStruct.Pin = VL53L0X_XSHUT_Pin|LED3_WIFI__LED4_BLE_Pin;
  GPIO_InitStruct.Mode = GPIO_MODE_OUTPUT_PP;
  GPIO_InitStruct.Pull = GPIO_NOPULL;
  GPIO_InitStruct.Speed = GPIO_SPEED_FREQ_LOW;
  HAL_GPIO_Init(GPIOC, &GPIO_InitStruct);

  /*Configure GPIO pins : VL53L0X_GPIO1_EXTI7_Pin LSM3MDL_DRDY_EXTI8_Pin */
  GPIO_InitStruct.Pin = VL53L0X_GPIO1_EXTI7_Pin|LSM3MDL_DRDY_EXTI8_Pin;
  GPIO_InitStruct.Mode = GPIO_MODE_IT_RISING;
  GPIO_InitStruct.Pull = GPIO_NOPULL;
  HAL_GPIO_Init(GPIOC, &GPIO_InitStruct);

  /*Configure GPIO pin : PMOD_SPI2_SCK_Pin */
  GPIO_InitStruct.Pin = PMOD_SPI2_SCK_Pin;
  GPIO_InitStruct.Mode = GPIO_MODE_AF_PP;
  GPIO_InitStruct.Pull = GPIO_NOPULL;
  GPIO_InitStruct.Speed = GPIO_SPEED_FREQ_VERY_HIGH;
  GPIO_InitStruct.Alternate = GPIO_AF5_SPI2;
  HAL_GPIO_Init(PMOD_SPI2_SCK_GPIO_Port, &GPIO_InitStruct);

  /*Configure GPIO pins : PMOD_UART2_CTS_Pin PMOD_UART2_RTS_Pin PMOD_UART2_TX_Pin PMOD_UART2_RX_Pin */
  GPIO_InitStruct.Pin = PMOD_UART2_CTS_Pin|PMOD_UART2_RTS_Pin|PMOD_UART2_TX_Pin|PMOD_UART2_RX_Pin;
  GPIO_InitStruct.Mode = GPIO_MODE_AF_PP;
  GPIO_InitStruct.Pull = GPIO_NOPULL;
  GPIO_InitStruct.Speed = GPIO_SPEED_FREQ_VERY_HIGH;
  GPIO_InitStruct.Alternate = GPIO_AF7_USART2;
  HAL_GPIO_Init(GPIOD, &GPIO_InitStruct);

  /*Configure GPIO pins : ARD_D15_Pin ARD_D14_Pin */
  GPIO_InitStruct.Pin = ARD_D15_Pin|ARD_D14_Pin;
  GPIO_InitStruct.Mode = GPIO_MODE_AF_OD;
  GPIO_InitStruct.Pull = GPIO_PULLUP;
  GPIO_InitStruct.Speed = GPIO_SPEED_FREQ_VERY_HIGH;
  GPIO_InitStruct.Alternate = GPIO_AF4_I2C1;
  HAL_GPIO_Init(GPIOB, &GPIO_InitStruct);

  /* EXTI interrupt init*/
  HAL_NVIC_SetPriority(EXTI9_5_IRQn, 0, 0);
  HAL_NVIC_EnableIRQ(EXTI9_5_IRQn);

  HAL_NVIC_SetPriority(EXTI15_10_IRQn, 0, 0);
  HAL_NVIC_EnableIRQ(EXTI15_10_IRQn);

}

/* USER CODE BEGIN 4 */

/**
 * no operation function
 */
void noOp() {

}

/**
 * print the application menu
 */
static void printMenu() {
	logMsg(&huart1, "Welcome to Embedded Controller Programming\r\n");
	waitTx();
	logMsg(&huart1, "Enter g for toggling Green LED\r\n");
	waitTx();
	logMsg(&huart1, "Enter b for toggling Blue LED\r\n");
	waitTx();
	logMsg(&huart1, "Enter s to generate SW interrupt \r\n");
	waitTx();
	logMsg(&huart1, "Enter t to start timer 3 \r\n");
	waitTx();
	logMsg(&huart1, "Enter w to trigger watchdog reset\r\n");
}

/**
 * Log a message via UART peripheral
 */
void logMsg(UART_HandleTypeDef *huart, char *out) {
	tx_complete = 0;
	HAL_UART_Transmit_IT(huart, (uint8_t *) out, strlen(out));

//	do {
//	} while(!tx_complete);
}

/**
 * Get a message via UART peripheral
 */
char logGetMsg(UART_HandleTypeDef *huart) {
	HAL_UART_Receive_IT(huart, rx_buffer, sizeof(rx_buffer));
	return rx_buffer[0];
}

/**
 * UART transfer callback
 */
void HAL_UART_TxCpltCallback(UART_HandleTypeDef *huart) {
	tx_complete = 1;
}

/**
 * UART receive callback
 */
void HAL_UART_RxCpltCallback(UART_HandleTypeDef *huart) {

}

void waitTx() {
	do {
	} while(!tx_complete);
}

/**
 * delay function using timer 2
 */
void myDelay1(uint32_t ms) {
	HAL_TIM_Base_Start(&htim2);

	uint32_t endTime = htim2.Instance->CNT + ms;

	do {

	} while(htim2.Instance->CNT < endTime);

	HAL_TIM_Base_Stop(&htim2);
}

/**
 * delay function using SysTick
 */
void myDelay2(uint32_t delayMs) {
	uint32_t startTick = HAL_GetTick();

	while ((HAL_GetTick() - startTick ) <  delayMs) {}

}

/**
 * start timer 3
 */
void startTimer3() {
	HAL_TIM_Base_Start_IT(&htim3);
}

/**
 * trigger the software interrupt
 */
void triggerSoftwareInterrupt() {
	waitTx();
	NVIC->STIR = FMC_IRQn;
}

void HAL_TIM_PeriodElapsedCallback(TIM_HandleTypeDef *htim) {

	if (timerCounter == 10) {
		char buff[100] = {0};
		sprintf(buff, "total counted timer3 events = %d \r\n", timerCounter);

		HAL_TIM_Base_Stop_IT(&htim3);
		timerCounter = 0;
		logMsg(&huart1, buff);
//		waitTx();
	} else {
//		HAL_GPIO_TogglePin(GPIOB, GPIO_PIN_14);
		timerCounter++;
	}

}

void triggerIWDG() {
	myDelay2(100000);
}

/**
 * alarm callback
 */
void HAL_RTC_AlarmAEventCallback(RTC_HandleTypeDef *hrtc) {
	logMsg(&huart1, "RTC alarm A detected \r\n");
}

/* USER CODE END 4 */

void Error_Handler(void)
{
	__disable_irq();
	while (1)
	{
	}
}

/************************ (C) COPYRIGHT STMicroelectronics *****END OF FILE****/
